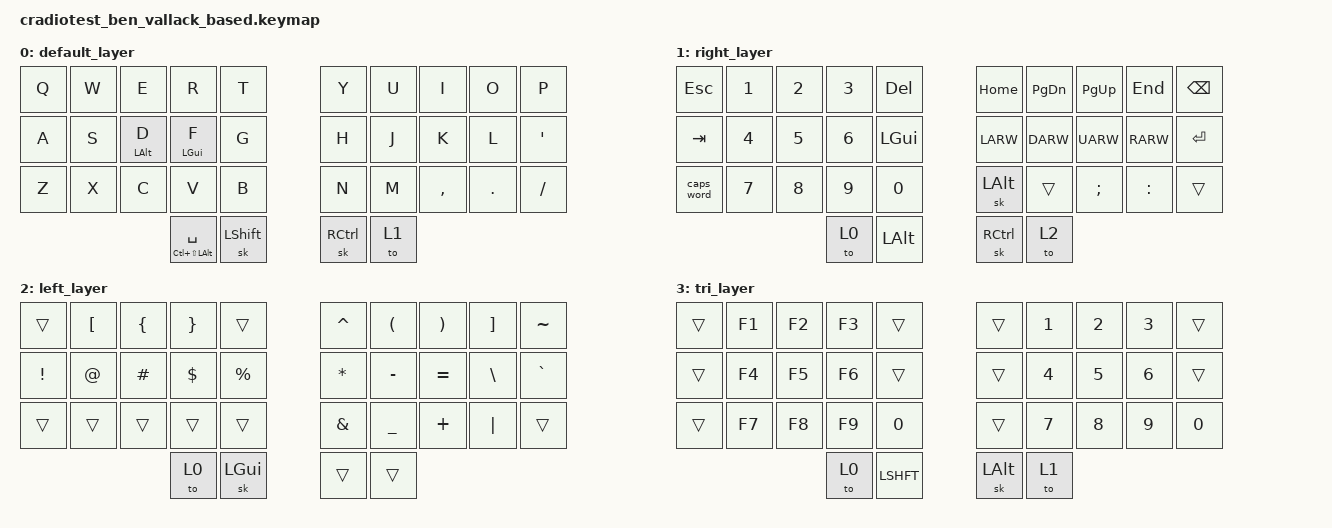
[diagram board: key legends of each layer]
// Copyright (c) 2022 The ZMK Contributors
// SPDX-License-Identifier: MIT

#include <behaviors.dtsi>
#include <dt-bindings/zmk/keys.h>
#include <dt-bindings/zmk/bt.h>
#include <dt-bindings/zmk/mouse.h>

// Home row mods macro
#define HRML(k1,k2,k3,k4) &ht LSHFT k1  &ht LALT k2  &ht LCTRL k3  &ht LGUI k4
#define HRMR(k1,k2,k3,k4) &ht RGUI k1  &ht RCTRL k2  &ht RALT k3  &ht RSHFT k4

&mt { 
    flavor = "tap-preferred";
    tapping_term_ms = <200>;
};

&mmv {
    time-to-max-speed-ms = <680>;
    acceleration-exponent = <2>;
};


/ {
    behaviors {
        ht: hold_tap {
            label = "hold_tap";
            compatible = "zmk,behavior-hold-tap";
            #binding-cells = <2>;
            tapping-term-ms = <200>;
            quick-tap-ms = <0>;
            flavor = "tap-preferred";
            bindings = <&kp>, <&kp>;
        };
        td: tapdance {
            compatible = "zmk,behavior-hold-tap";
            label = "TAPDANCE";
            #binding-cells = <2>;
            tapping-term-ms = <150>;
            quick_tap_ms = <0>;
            flavor = "tap-preferred";
            bindings = <&kp>, <&kp>;
        };
    };


    keymap {
        compatible = "zmk,keymap";
        default_layer {
            bindings = <
        //╭──────────┬──────────┬──────────┬──────────┬──────────╮   ╭──────────┬──────────┬──────────┬──────────┬──────────╮
        //│  Q       │  W       │  E       │  R       │  T       │   │  Y       │  U       │  I       │  O       │  P       │
            &kp Q      &kp W      &kp E      &kp R      &kp T          &kp Y      &kp U      &kp I      &kp O      &kp P
        //├──────────┼──────────┼──────────┼──────────┼──────────┤   ├──────────┼──────────┼──────────┼──────────┼──────────┤
        //│  A       │  S       │  D       │  F       │  G       │   │  H       │  J       │  K       │  L       │ ' "      │
            &kp A      &kp S     &hm LALT D &hm LGUI F  &kp G          &kp H      &kp J      &kp K      &kp L      &kp SQT
        //├──────────┼──────────┼──────────┼──────────┼──────────┤   ├──────────┼──────────┼──────────┼──────────┼──────────┤
        //│  Z       │  X       │  C       │  V       │  B       │   │  N       │  M       │ , <      │ . >      │ / ?      │
            &kp Z      &kp X      &kp C      &kp V      &kp B          &kp N      &kp M      &kp COMMA  &kp DOT    &kp FSLH
        //╰──────────┴──────────┴──────────┼──────────┼──────────┤   ├──────────┼──────────┼──────────┴──────────┴──────────╯
                                  &mt LC(LS(LALT)) SPC  &sk LSHFT      &sk RCTRL  &to 1 
        //                                 ╰──────────┴──────────╯   ╰──────────┴──────────╯
            >;
        };

        right_layer {
            bindings = <
        //╭──────────┬──────────┬──────────┬──────────┬──────────╮   ╭──────────┬──────────┬──────────┬──────────┬──────────╮
        //│ ESC      │  1       │  2       │  3       │ DELETE   │   │ HOME     │ PAGE DN  │ PAGE UP  │ END      │  BSPC    │
            &kp ESC    &kp N1     &kp N2     &kp N3     &kp DEL        &kp HOME   &kp PG_DN  &kp PG_UP  &kp END    &kp BSPC 
        //├──────────┼──────────┼──────────┼──────────┼──────────┤   ├──────────┼──────────┼──────────┼──────────┼──────────┤
        //│ TAB      │  4       │  5       │  6       │ WINDOWS  │   │ LEFT     │ DOWN     │ UP       │ RIGHT    │  ENTER   │
            &kp TAB    &kp N4     &kp N5     &kp N6     &kp LGUI       &kp LARW   &kp DARW   &kp UARW   &kp RARW   &kp ENTER
        //├──────────┼──────────┼──────────┼──────────┼──────────┤   ├──────────┼──────────┼──────────┼──────────┼──────────┤
        //│ CAPS     │  7       │  8       │  9       │  0       │   │          │          │  ;       │  :       │          │
           &caps_word  &kp N7     &kp N8     &kp N9     &kp N0         &sk LALT   &trans     &kp SEMI   &kp COLON  &trans
        //╰──────────┴──────────┴──────────┼──────────┼──────────┤   ├──────────┼──────────┼──────────┴──────────┴──────────╯
                                             &to 0      &kp LALT       &sk RCTRL  &to 2 
        //                                 ╰──────────┴──────────╯   ╰──────────┴──────────╯
            >;
        };

        left_layer {
            bindings = <
        //╭──────────┬──────────┬──────────┬──────────┬──────────╮   ╭──────────┬──────────┬──────────┬──────────┬──────────╮
        //│          │  [       │  {       │  }       │          │   │  ^       │  (       │  )       │  ]       │  ~       │
            &trans     &kp LBKT   &kp LBRC   &kp RBRC   &trans         &kp CARET  &kp LPAR   &kp RPAR   &kp RBKT   &kp TILDE
        //├──────────┼──────────┼──────────┼──────────┼──────────┤   ├──────────┼──────────┼──────────┼──────────┼──────────┤
        //│  !       │  @       │  #       │  $       │  %       │   │  *       │  -       │  =       │  \       │  `       │
            &kp EXCL   &kp AT     &kp HASH   &kp DLLR   &kp PRCNT      &kp ASTRK  &kp MINUS  &kp EQUAL  &kp BSLH   &kp GRAVE
        //├──────────┼──────────┼──────────┼──────────┼──────────┤   ├──────────┼──────────┼──────────┼──────────┼──────────┤
        //│          │          │          │          │          │   │  &       │  _       │  +       │  │       │          │
            &trans     &trans     &trans     &trans     &trans         &kp AMPS   &kp UNDER  &kp PLUS   &kp PIPE   &trans
        //╰──────────┴──────────┴──────────┼──────────┼──────────┤   ├──────────┼──────────┼──────────┴──────────┴──────────╯
                                             &to 0      &sk LGUI       &trans     &trans
        //                                 ╰──────────┴──────────╯   ╰──────────┴──────────╯
            >;
        };
        
        tri_layer {
            bindings = <
        //╭──────────┬──────────┬──────────┬──────────┬──────────╮   ╭──────────┬──────────┬──────────┬──────────┬──────────╮
        //│          │  1       │  2       │  3       │          │   │          │          │          │          │          │
            &trans     &kp F1     &kp F2     &kp F3    &trans          &trans     &kp N1     &kp N2     &kp N3     &trans
        //├──────────┼──────────┼──────────┼──────────┼──────────┤   ├──────────┼──────────┼──────────┼──────────┼──────────┤
        //│          │  4       │  5       │  6       │          │   │          │          │          │          │          │
            &trans     &kp F4     &kp F5     &kp F6    &trans          &trans     &kp N4     &kp N5     &kp N6     &trans 
        //├──────────┼──────────┼──────────┼──────────┼──────────┤   ├──────────┼──────────┼──────────┼──────────┼──────────┤
        //│          │  7       │  8       │  9       │ 0        │   │          │          │          │          │          │
            &trans     &kp F7     &kp F8    &kp F9     &kp N0          &trans     &kp N7     &kp N8     &kp N9     &kp N0
        //╰──────────┴──────────┴──────────┼──────────┼──────────┤   ├──────────┼──────────┼──────────┴──────────┴──────────╯
                                             &to 0      &LSHFT         &sk LALT   &to 1 
        //                                 ╰──────────┴──────────╯   ╰──────────┴──────────╯
            >;

        bt {
            bindings = <
        //╭──────────┬──────────┬──────────┬──────────┬──────────╮   ╭──────────┬──────────┬──────────┬──────────┬──────────╮
        //│ RESET    │          │          │          │PROFILE 0 │   │          │          │          │          │  RESET   │
           &sys_reset  &kp F1     &kp F2     &kp F3    &bt BT_SEL 0    &trans     &kp F7     &kp F8     &kp F9    &sys_reset
        //├──────────┼──────────┼──────────┼──────────┼──────────┤   ├──────────┼──────────┼──────────┼──────────┼──────────┤
        //│BOOTLOADER│          │          │          │PROFILE 1 │   │          │          │          │          │BOOTLOADER│
          &bootloader  &kp F4     &kp F5     &kp F6    &bt BT_SEL 1    &trans     &kp F10    &kp F11    &kp F12   &bootloader
        //├──────────┼──────────┼──────────┼──────────┼──────────┤   ├──────────┼──────────┼──────────┼──────────┼──────────┤
        //│          │          │          │ CLEAR BT │PROFILE 2 │   │          │          │          │          │          │
            &trans     &trans     &trans    &bt BT_CLR &bt BT_SEL 2    &trans     &trans     &trans     &trans     &trans
        //╰──────────┴──────────┴──────────┼──────────┼──────────┤   ├──────────┼──────────┼──────────┴──────────┴──────────╯
                                             &to 0      &trans         &trans     &to 1 
        //                                 ╰──────────┴──────────╯   ╰──────────┴──────────╯
            >;
        };
    };
};
